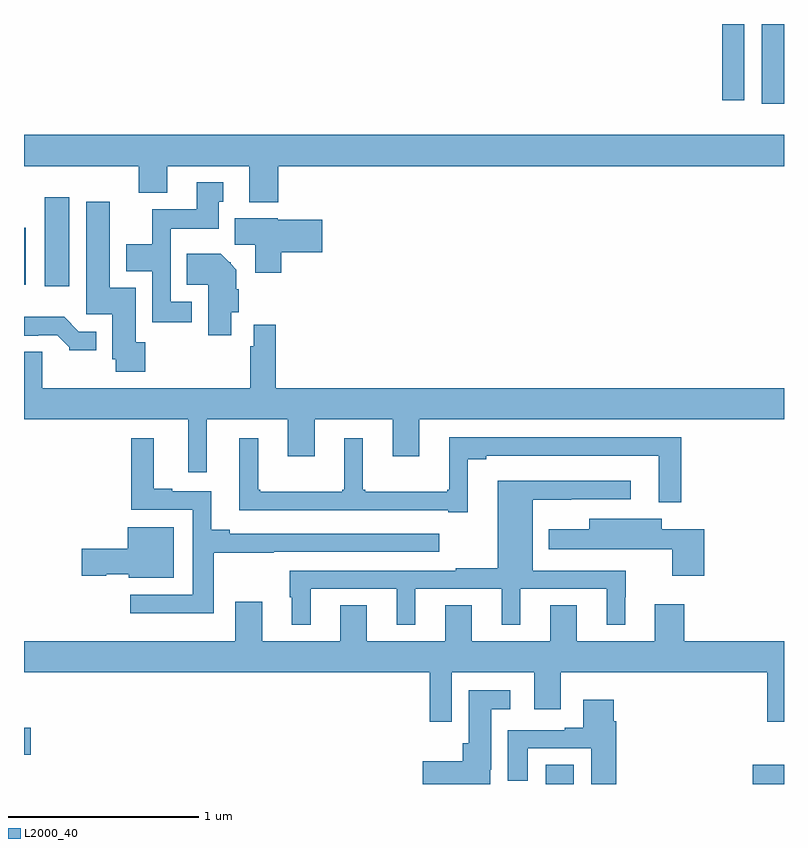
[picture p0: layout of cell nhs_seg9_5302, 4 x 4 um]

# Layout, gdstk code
import gdstk
lib = gdstk.Library(unit=1e-6, precision=1e-09)
def R(c, l, rs):  # rectangles x0, y0, x1, y1
    for r in rs: c.add(gdstk.rectangle(r[:2], r[2:], *l))
def P(c, l, *ps):  # polygons
    for p in ps: c.add(gdstk.Polygon(p, *l))
L2000_40 = (2000, 40)

nhs_seg9_5302 = lib.new_cell('nhs_seg9_5302')
R(nhs_seg9_5302, L2000_40, [(421.745,1194.5,421.894,1194.602), (422.835,1194.5,423,1194.601), (419,1194.653,419.035,1194.795), (419.108,1197.12,419.239,1197.589), (419,1197.128,419.008,1197.427), (422.882,1198.08,423,1198.5), (422.674,1198.098,422.79,1198.5)])
P(nhs_seg9_5302, L2000_40, [(420.338,1197.752),(423,1197.752),(423,1197.916),(419,1197.916),(419,1197.752),(419.603,1197.752),(419.603,1197.611),(419.755,1197.611),(419.755,1197.752),(420.185,1197.752),(420.185,1197.563),(420.338,1197.563)],
  [(419.884,1197.039),(419.772,1197.039),(419.772,1197.422),(420.025,1197.422),(420.025,1197.564),(420.049,1197.564),(420.049,1197.667),(419.909,1197.667),(419.909,1197.526),(419.674,1197.526),(419.674,1197.34),(419.537,1197.34),(419.537,1197.2),(419.676,1197.2),(419.676,1196.931),(419.884,1196.931)],
  [(419.639,1196.826),(419.587,1196.826),(419.587,1197.112),(419.452,1197.112),(419.452,1197.565),(419.327,1197.565),(419.327,1196.973),(419.465,1196.973),(419.465,1196.736),(419.482,1196.736),(419.482,1196.67),(419.639,1196.67)],
  [(420.353,1197.299),(420.571,1197.299),(420.571,1197.469),(420.336,1197.469),(420.336,1197.478),(420.11,1197.478),(420.11,1197.339),(420.218,1197.339),(420.218,1197.192),(420.353,1197.192)],
  [(420.091,1196.982),(420.131,1196.982),(420.131,1197.104),(420.118,1197.104),(420.118,1197.207),(420.087,1197.238),(420.087,1197.246),(420.081,1197.246),(420.035,1197.292),(419.857,1197.292),(419.857,1197.128),(419.969,1197.128),(419.969,1196.862),(420.091,1196.862)],
  [(419.38,1196.88),(419.289,1196.88),(419.211,1196.959),(419,1196.959),(419,1196.859),(419.075,1196.859),(419.075,1196.862),(419.174,1196.862),(419.238,1196.798),(419.238,1196.783),(419.38,1196.783)],
  [(419.962,1196.42),(420.389,1196.42),(420.389,1196.226),(420.529,1196.226),(420.529,1196.42),(420.941,1196.42),(420.941,1196.226),(421.081,1196.226),(421.081,1196.42),(423,1196.42),(423,1196.584),(420.326,1196.584),(420.326,1196.917),(420.21,1196.917),(420.21,1196.804),(420.19,1196.804),(420.19,1196.584),(419.095,1196.584),(419.095,1196.774),(419,1196.774),(419,1196.42),(419.864,1196.42),(419.864,1196.142),(419.962,1196.142)],
  [(421.336,1196.209),(421.432,1196.209),(421.432,1196.228),(422.342,1196.228),(422.342,1195.982),(422.459,1195.982),(422.459,1196.325),(421.238,1196.325),(421.238,1196.05),(421.227,1196.05),(421.227,1196.039),(420.796,1196.039),(420.796,1196.05),(420.784,1196.05),(420.784,1196.32),(420.686,1196.32),(420.686,1196.05),(420.675,1196.05),(420.675,1196.039),(420.244,1196.039),(420.244,1196.05),(420.232,1196.05),(420.232,1196.32),(420.134,1196.32),(420.134,1195.941),(421.232,1195.941),(421.232,1195.929),(421.336,1195.929)],
  [(419.998,1195.717),(420.314,1195.717),(420.314,1195.722),(421.186,1195.722),(421.186,1195.818),(420.082,1195.818),(420.082,1195.838),(419.986,1195.838),(419.986,1196.04),(419.779,1196.04),(419.779,1196.053),(419.683,1196.053),(419.683,1196.32),(419.565,1196.32),(419.565,1195.944),(419.889,1195.944),(419.889,1195.497),(419.559,1195.497),(419.559,1195.4),(419.998,1195.4)],
  [(420.508,1195.527),(420.962,1195.527),(420.962,1195.337),(421.06,1195.337),(421.06,1195.527),(421.514,1195.527),(421.514,1195.337),(421.612,1195.337),(421.612,1195.527),(422.066,1195.527),(422.066,1195.337),(422.164,1195.337),(422.164,1195.484),(422.166,1195.484),(422.166,1195.623),(421.678,1195.623),(421.678,1195.997),(421.88,1195.997),(421.88,1195.998),(422.194,1195.998),(422.194,1196.095),(421.493,1196.095),(421.493,1195.636),(421.273,1195.636),(421.273,1195.623),(420.399,1195.623),(420.399,1195.484),(420.41,1195.484),(420.41,1195.337),(420.508,1195.337)],
  [(422.579,1195.84),(422.356,1195.84),(422.356,1195.897),(421.976,1195.897),(421.976,1195.84),(421.763,1195.84),(421.763,1195.736),(422.411,1195.736),(422.411,1195.596),(422.579,1195.596)],
  [(419.788,1195.852),(419.546,1195.852),(419.546,1195.739),(419.304,1195.739),(419.304,1195.597),(419.433,1195.597),(419.433,1195.604),(419.55,1195.604),(419.55,1195.586),(419.788,1195.586)],
  [(421.251,1195.088),(421.685,1195.088),(421.685,1194.894),(421.825,1194.894),(421.825,1195.088),(422.911,1195.088),(422.911,1194.828),(423,1194.828),(423,1195.252),(422.474,1195.252),(422.474,1195.447),(422.321,1195.447),(422.321,1195.252),(421.909,1195.252),(421.909,1195.442),(421.769,1195.442),(421.769,1195.252),(421.357,1195.252),(421.357,1195.442),(421.217,1195.442),(421.217,1195.252),(420.805,1195.252),(420.805,1195.442),(420.665,1195.442),(420.665,1195.252),(420.253,1195.252),(420.253,1195.459),(420.113,1195.459),(420.113,1195.252),(419,1195.252),(419,1195.088),(421.135,1195.088),(421.135,1194.828),(421.251,1194.828)],
  [(421.455,1194.574),(421.459,1194.574),(421.459,1194.893),(421.558,1194.893),(421.558,1194.994),(421.34,1194.994),(421.34,1194.714),(421.31,1194.714),(421.31,1194.619),(421.098,1194.619),(421.098,1194.5),(421.455,1194.5)],
  [(422.117,1194.83),(422.104,1194.83),(422.104,1194.943),(421.943,1194.943),(421.943,1194.796),(421.847,1194.796),(421.847,1194.783),(421.547,1194.783),(421.547,1194.516),(421.651,1194.516),(421.651,1194.687),(421.985,1194.687),(421.985,1194.5),(422.117,1194.5)])

lib.write_gds('nhs_seg9_5302.gds')
